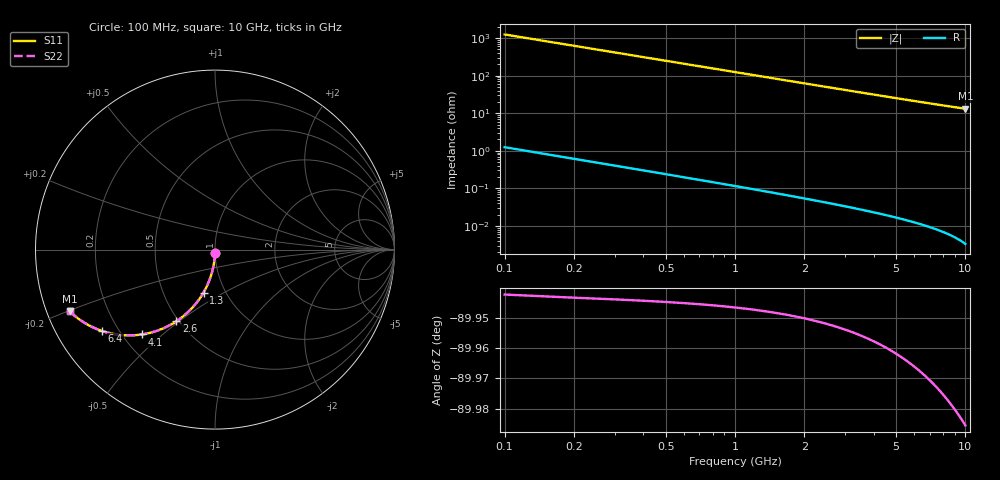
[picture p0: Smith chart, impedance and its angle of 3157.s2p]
# Hz S RI R 50.00
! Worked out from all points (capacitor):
!   100 points, 100 MHz to 10 GHz, reference 50 ohm
!   read as one part in shunt: C = 1.28 pF near 100 MHz
!   lowest |Z| = 13.2 ohm at 10 GHz (marker M1)
!   S11 on the Smith chart (normalised r, x): 100 MHz: 1.00, -0.04; 1.3 GHz: 0.79, -0.40; 2.6 GHz: 0.49, -0.49; 4.1 GHz: 0.28, -0.43; 6.4 GHz: 0.14, -0.32; 10 GHz: 0.07, -0.20
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1e8  -1.54e-05 -0.0197  0.9992 -0.0206  0.9992 -0.0206  -1.54e-05 -0.0197
2e8  -0.00125 -0.0393  0.9979 -0.0411  0.9979 -0.0411  -0.00125 -0.0393
3e8  -0.00328 -0.0588  0.9959 -0.0615  0.9959 -0.0615  -0.00328 -0.0588
4e8  -0.0061 -0.0782  0.9931 -0.0818  0.9931 -0.0818  -0.0061 -0.0782
5e8  -0.00971 -0.0974  0.9894 -0.1018  0.9894 -0.1018  -0.00971 -0.0974
6e8  -0.0141 -0.1164  0.9851 -0.1217  0.9851 -0.1217  -0.0141 -0.1164
7e8  -0.0192 -0.135  0.98 -0.1412  0.98 -0.1412  -0.0192 -0.135
8e8  -0.025 -0.1534  0.9741 -0.1605  0.9741 -0.1605  -0.025 -0.1534
1e9  -0.0387 -0.189  0.9604 -0.1979  0.9604 -0.1979  -0.0387 -0.189
1.3e9  -0.0639 -0.2392  0.9352 -0.2507  0.9352 -0.2507  -0.0639 -0.2392
1.5e9  -0.0834 -0.2701  0.9156 -0.2834  0.9156 -0.2834  -0.0834 -0.2701
1.8e9  -0.116 -0.3124  0.883 -0.3283  0.883 -0.3283  -0.116 -0.3124
2.2e9  -0.1641 -0.3606  0.8348 -0.3801  0.8348 -0.3801  -0.1641 -0.3606
2.6e9  -0.2155 -0.3995  0.7834 -0.4225  0.7834 -0.4225  -0.2155 -0.3995
3.4e9  -0.3201 -0.4511  0.6785 -0.4814  0.6785 -0.4814  -0.3201 -0.4511
4.1e9  -0.4071 -0.4726  0.5913 -0.5092  0.5913 -0.5092  -0.4071 -0.4726
5.1e9  -0.5163 -0.4763  0.4817 -0.5219  0.4817 -0.5219  -0.5163 -0.4763
6.4e9  -0.6287 -0.4535  0.3687 -0.5109  0.3687 -0.5109  -0.6287 -0.4535
6.7e9  -0.6503 -0.4457  0.3469 -0.506  0.3469 -0.506  -0.6503 -0.4457
7.5e9  -0.7008 -0.4227  0.2959 -0.4904  0.2959 -0.4904  -0.7008 -0.4227
8.4e9  -0.7473 -0.3947  0.2488 -0.4709  0.2488 -0.4709  -0.7473 -0.3947
1e10  -0.8091 -0.3445  0.1856 -0.436  0.1856 -0.436  -0.8091 -0.3445
